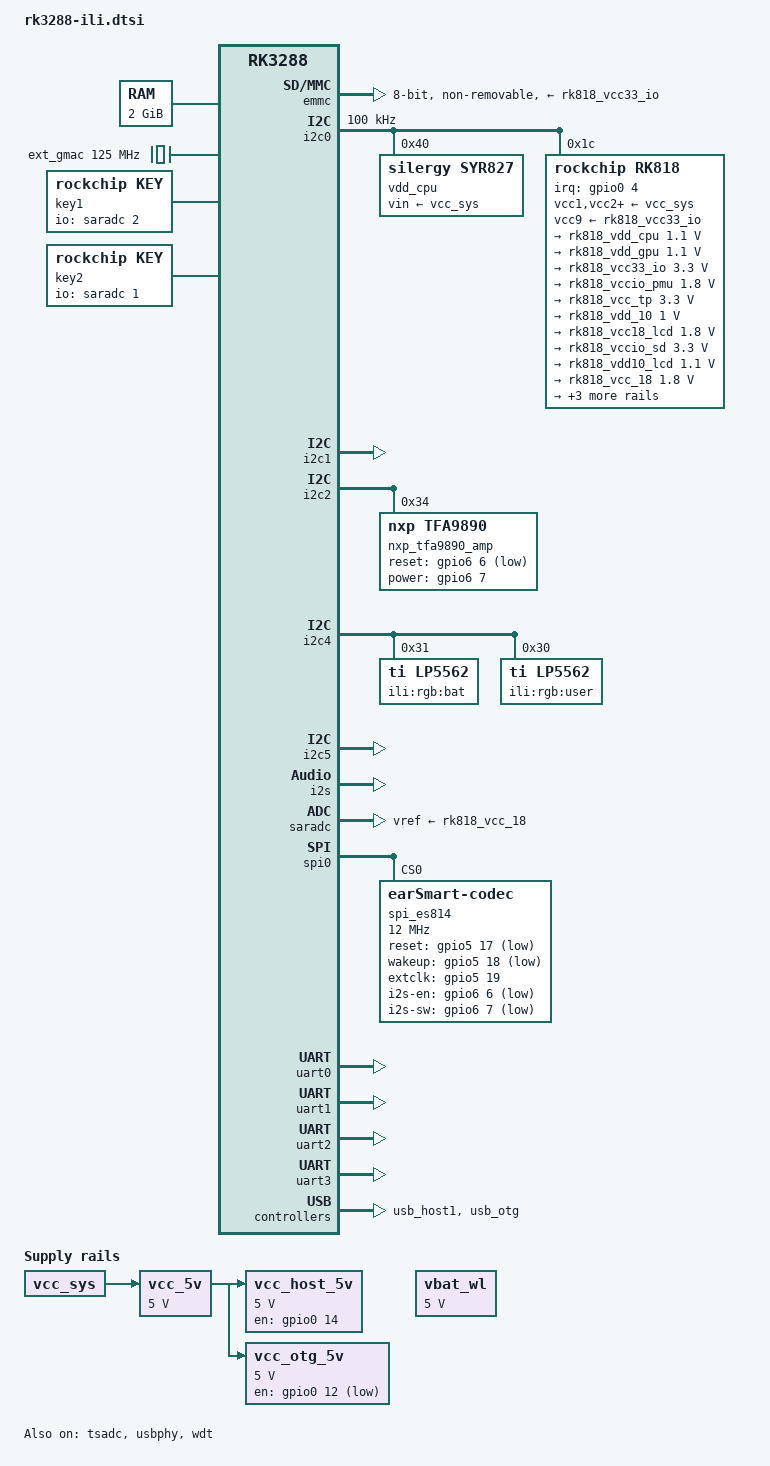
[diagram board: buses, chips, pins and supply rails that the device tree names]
/*
 * Copyright (c) 2014, 2015 FUKAUMI Naoki <naobsd@gmail.com>
 *
 * This file is dual-licensed: you can use it either under the terms
 * of the GPL or the X11 license, at your option. Note that this dual
 * licensing only applies to this file, and not this project as a
 * whole.
 *
 *  a) This file is free software; you can redistribute it and/or
 *     modify it under the terms of the GNU General Public License as
 *     published by the Free Software Foundation; either version 2 of the
 *     License, or (at your option) any later version.
 *
 *     This file is distributed in the hope that it will be useful,
 *     but WITHOUT ANY WARRANTY; without even the implied warranty of
 *     MERCHANTABILITY or FITNESS FOR A PARTICULAR PURPOSE.  See the
 *     GNU General Public License for more details.
 *
 * Or, alternatively,
 *
 *  b) Permission is hereby granted, free of charge, to any person
 *     obtaining a copy of this software and associated documentation
 *     files (the "Software"), to deal in the Software without
 *     restriction, including without limitation the rights to use,
 *     copy, modify, merge, publish, distribute, sublicense, and/or
 *     sell copies of the Software, and to permit persons to whom the
 *     Software is furnished to do so, subject to the following
 *     conditions:
 *
 *     The above copyright notice and this permission notice shall be
 *     included in all copies or substantial portions of the Software.
 *
 *     THE SOFTWARE IS PROVIDED "AS IS", WITHOUT WARRANTY OF ANY KIND,
 *     EXPRESS OR IMPLIED, INCLUDING BUT NOT LIMITED TO THE WARRANTIES
 *     OF MERCHANTABILITY, FITNESS FOR A PARTICULAR PURPOSE AND
 *     NONINFRINGEMENT. IN NO EVENT SHALL THE AUTHORS OR COPYRIGHT
 *     HOLDERS BE LIABLE FOR ANY CLAIM, DAMAGES OR OTHER LIABILITY,
 *     WHETHER IN AN ACTION OF CONTRACT, TORT OR OTHERWISE, ARISING
 *     FROM, OUT OF OR IN CONNECTION WITH THE SOFTWARE OR THE USE OR
 *     OTHER DEALINGS IN THE SOFTWARE.
 */

#include "rk3288.dtsi"

/ {
	memory {
		device_type = "memory";
		reg = <0 0x80000000>;
	};

	ext_gmac: external-gmac-clock {
		compatible = "fixed-clock";
		#clock-cells = <0>;
		clock-frequency = <125000000>;
		clock-output-names = "ext_gmac";
	};

/*key definition 1 for Lang Swift Key*/
	key1: adc-key {
		compatible = "rockchip,key";		
		io-channels = <&saradc 2>;

		lang-key {
			/*linux: KEY_F13*/
			linux,code = <183>;
			label = "lang-a";
			rockchip,adc_value = <1>;
		};
	};

/*key definition 2 for*/
	key2: adc-keys {
		compatible = "rockchip,key";		
		io-channels = <&saradc 1>;

		/*Translation Key*/
		main-key {
			gpios = <&gpio0 6 GPIO_ACTIVE_LOW>;
			/*linux: KEY_RECORD*/
			linux,code = <167>;
			label = "record";
		};

		/*Volume Up*/
		vol-up-key {
			/*linux: KEY_VOLUMEUP*/
			linux,code = <115>;
			label = "volume up";
			rockchip,adc_value = <1>;
		};

		/*Volume Down*/
		vol-down-key {
			/*linux: KEY_VOLUMEDOWN*/
			linux,code = <114>;
			label = "volume down";
			rockchip,adc_value = <170>;
		};
	};

/*
 Declare a sound card
   hw:0,0 => TFA9890, speaker
   hw:0,1 => eS814, mic
*/
	sound {
		compatible = "simple-audio-card";
		simple-audio-card,format = "i2s";
		simple-audio-card,name = "rockchip,firefly-codec";
		simple-audio-card,mclk-fs = <512>;

		simple-audio-card,dai-link@0 {
			format = "i2s";
			cpu {
				sound-dai = <&i2s>;
			};

			codec {
				sound-dai = <&nxp_tfa9890_amp>;
			};
		};

		simple-audio-card,dai-link@1 {
			format = "i2s";
			cpu {
				sound-dai = <&i2s>;
			};

			codec {
				sound-dai = <&spi_es814>;
			};
		};
	};

	vbat_wl: vcc_sys: vsys-regulator {
		compatible = "regulator-fixed";
		regulator-name = "vcc_sys";
		regulator-min-microvolt = <5000000>;
		regulator-max-microvolt = <5000000>;
		regulator-always-on;
		regulator-boot-on;
	};

	vcc_5v: usb-regulator {
		compatible = "regulator-fixed";
		regulator-name = "vcc_5v";
		regulator-min-microvolt = <5000000>;
		regulator-max-microvolt = <5000000>;
		regulator-always-on;
		regulator-boot-on;
		vin-supply = <&vcc_sys>;
	};

	vcc_host_5v: usb-host-regulator {
		compatible = "regulator-fixed";
		enable-active-high;
		gpio = <&gpio0 14 GPIO_ACTIVE_HIGH>;
		pinctrl-names = "default";
		pinctrl-0 = <&host_vbus_drv>;
		regulator-name = "vcc_host_5v";
		regulator-min-microvolt = <5000000>;
		regulator-max-microvolt = <5000000>;
		regulator-always-on;
		vin-supply = <&vcc_5v>;
	};

	vcc_otg_5v: usb-otg-regulator {
		compatible = "regulator-fixed";
		enable-active-low;
		gpio = <&gpio0 12 GPIO_ACTIVE_HIGH>;
		pinctrl-names = "default";
		pinctrl-0 = <&otg_vbus_drv>;
		regulator-name = "vcc_otg_5v";
		regulator-min-microvolt = <5000000>;
		regulator-max-microvolt = <5000000>;
		regulator-always-on;
		vin-supply = <&vcc_5v>;
	};
};

&cpu0 {
	cpu0-supply = <&vdd_cpu>;
};

&emmc {
	bus-width = <8>;
	cap-mmc-highspeed;
	disable-wp;
	non-removable;
	num-slots = <1>;
	pinctrl-names = "default";
	pinctrl-0 = <&emmc_clk>, <&emmc_cmd>, <&emmc_pwr>, <&emmc_bus8>;
	vmmc-supply = <&rk818_vcc33_io>;
	vqmmc-supply = <&rk818_vcc_18>;
	status = "okay";
};

&i2c0 {
	clock-frequency = <100000>;
	status = "okay";

	vdd_cpu: syr827@40 {
		compatible = "silergy,syr827";
		fcs,suspend-voltage-selector = <1>;
		reg = <0x40>;
		regulator-name = "vdd_cpu";
		regulator-min-microvolt = <850000>;
		regulator-max-microvolt = <1350000>;
		regulator-always-on;
		regulator-boot-on;
		regulator-enable-ramp-delay = <300>;
		regulator-ramp-delay = <8000>;
		vin-supply = <&vcc_sys>;
	};

/*RK818-1 PMIC*/
	rk818: rk818@1c {
		compatible = "rockchip,rk818";
		status = "okay";
		reg = <0x1c>;
		clock-output-names = "xin32k", "wifibt_32kin";
		interrupt-parent = <&gpio0>;
		interrupts = <4 IRQ_TYPE_LEVEL_LOW>;
		pinctrl-names = "default";
		pinctrl-0 = <&pmic_int>;
		rockchip,system-power-controller;
		wakeup-source;
		#clock-cells = <1>;

		vcc1-supply = <&vcc_sys>;
		vcc2-supply = <&vcc_sys>;
		vcc3-supply = <&vcc_sys>;
		vcc4-supply = <&vcc_sys>;
		vcc6-supply = <&vcc_sys>;
		vcc7-supply = <&vcc_sys>;
		vcc8-supply = <&vcc_sys>;
		vcc9-supply = <&rk818_vcc33_io>;

		regulators {
			rk818_vdd_cpu: DCDC_REG1 {
				regulator-name = "vdd_logic";
				regulator-always-on;
				regulator-boot-on;
				regulator-min-microvolt = <1100000>;
				regulator-max-microvolt = <1100000>;
				regulator-ramp-delay = <0>;
				regulator-state-mem {
					regulator-on-in-suspend;
					regulator-suspend-microvolt = <900000>;
				};
			};
			rk818_vdd_gpu: DCDC_REG2 {
				regulator-name = "vdd_gpu";
				regulator-always-on;
				regulator-boot-on;
				regulator-min-microvolt = <1100000>;
				regulator-max-microvolt = <1100000>;
				regulator-ramp-delay = <0>;
				regulator-state-mem {
					regulator-on-in-suspend;
					regulator-suspend-microvolt = <1200000>;
				};
			};

/* no need to set this, rejected by system
			rk818_vcc_ddr: DCDC_REG3 {
				regulator-name = "vcc_ddr";
				regulator-always-on;
				regulator-boot-on;
				regulator-min-microvolt = <1250000>;
				regulator-max-microvolt = <1250000>;
				regulator-ramp-delay = <0>;
				regulator-state-mem {
					regulator-on-in-suspend;
					regulator-suspend-microvolt = <1200000>;
				};
			};
*/
			rk818_vcc33_io: DCDC_REG4 {
				regulator-name = "vcc33_io";
				regulator-always-on;
				regulator-boot-on;
				regulator-min-microvolt = <3300000>;
				regulator-max-microvolt = <3300000>;
				regulator-state-mem {
					regulator-on-in-suspend;
					regulator-suspend-microvolt = <2800000>;
				};
			};

			rk818_vccio_pmu: LDO_REG1 {
				regulator-name = "vccio_pmu";
				regulator-always-on;
				regulator-boot-on;
				regulator-min-microvolt = <1800000>;
				regulator-max-microvolt = <1800000>;
				regulator-state-mem {
					regulator-on-in-suspend;
					regulator-suspend-microvolt = <3300000>;
				};
			};

			rk818_vcc_tp: LDO_REG2 {
				regulator-name = "vcc_tp";
				regulator-always-on;
				regulator-boot-on;
				regulator-min-microvolt = <3300000>;
				regulator-max-microvolt = <3300000>;
				regulator-state-mem {
					regulator-on-in-suspend;
					regulator-suspend-microvolt = <3300000>;
				};
			};

			rk818_vdd_10: LDO_REG3 {
				regulator-name = "vdd_10";
				regulator-always-on;
				regulator-boot-on;
				regulator-min-microvolt = <1000000>;
				regulator-max-microvolt = <1000000>;
				regulator-state-mem {
					regulator-on-in-suspend;
					regulator-suspend-microvolt = <1000000>;
				};
			};

			rk818_vcc18_lcd: LDO_REG4 {
				regulator-name = "vcc18_lcd";
				regulator-always-on;
				regulator-boot-on;
				regulator-min-microvolt = <1800000>;
				regulator-max-microvolt = <1800000>;
				regulator-state-mem {
					regulator-on-in-suspend;
					regulator-suspend-microvolt = <1800000>;
				};
			};

			rk818_vccio_sd: LDO_REG5 {
				regulator-name = "vccio_sd";
				regulator-always-on;
				regulator-boot-on;
				regulator-min-microvolt = <3300000>;
				regulator-max-microvolt = <3300000>;
				regulator-state-mem {
					regulator-on-in-suspend;
					regulator-suspend-microvolt = <3300000>;
				};
			};

			rk818_vdd10_lcd: LDO_REG6 {
				regulator-name = "vdd10_lcd";
				regulator-always-on;
				regulator-boot-on;
				regulator-min-microvolt = <1100000>;
				regulator-max-microvolt = <1100000>;
				regulator-state-mem {
					regulator-on-in-suspend;
					regulator-suspend-microvolt = <1000000>;
				};
			};

			rk818_vcc_18: LDO_REG7 {
				regulator-name = "vcc_18";
				regulator-always-on;
				regulator-boot-on;
				regulator-min-microvolt = <1800000>;
				regulator-max-microvolt = <1800000>;
				regulator-state-mem {
					regulator-on-in-suspend;
					regulator-suspend-microvolt = <1800000>;
				};
			};

			rk818_vcca_codec: LDO_REG8 {
				regulator-name = "vcca_codec";
				regulator-always-on;
				regulator-boot-on;
				regulator-min-microvolt = <1800000>;
				regulator-max-microvolt = <1800000>;
				regulator-state-mem {
					regulator-on-in-suspend;
					regulator-suspend-microvolt = <1800000>;
				};
			};

			rk818_vcc_wl: LDO_REG9 {
				regulator-always-on;
				regulator-boot-on;
				regulator-min-microvolt = <1800000>;
				regulator-max-microvolt = <3300000>;
				regulator-name = "vcc_wl";
				regulator-state-mem {
					regulator-on-in-suspend;
					regulator-suspend-microvolt = <3300000>;
				};
			};

			rk818_vcc_lcd: SWITCH_REG {
				regulator-always-on;
				regulator-boot-on;
				regulator-name = "vcc_lcd";
				regulator-state-mem {
					regulator-on-in-suspend;
				};
			};
		};
		battery {
		        compatible = "rk818-battery";
		        ocv_table = <3345 3678 3693 3718 3755 3772 3776 3780 3785 3795 3811 3838 3881 3908 3930 3962 3977 4033 4079 4093 4156>;
		        design_capacity = <600>;
		        design_qmax = <630>;
		        max_overcharge = <100>;
		        bat_res = <154>;
		        max_input_current  = <2000>;
		        max_chrg_current = <630>;
		        max_chrg_voltage = <4200>;
		        sleep_enter_current = <300>;
		        sleep_exit_current = <300>;
		        power_off_thresd = <3400>;
		        zero_algorithm_vol = <3850>;
		        fb_temperature = <105>;
			sample_res = <20>;
			max_soc_offset = <60>;
			energy_mode = <0>;
			monitor_sec = <5>;
		        virtual_power = <0>;
		        power_dc2otg = <0>;
		};
	};
};

&i2c1 {
	status = "okay";
};

&i2c2 {
	status = "okay";

/*NXP tfa9890 amp using i2c2*/
	nxp_tfa9890_amp: nxp_tfa9890_amp@34 {
		compatible = "nxp,tfa9890";
		reg = <0x34>;
		clock-names = "mclk";
		clocks = <&cru SCLK_I2S0_OUT>;
		#sound-dai-cells = <0>;
		reset-gpio = <&gpio6 6 GPIO_ACTIVE_LOW>;
		power-gpio = <&gpio6 7 GPIO_ACTIVE_HIGH>;
	};
};

&i2c4 {
	status = "okay";

/*Side LED, response to battery status*/
	bat_led@31 {
		compatible = "ti,lp5562";
		reg = <0x31>;
		label = "ili:rgb:bat";
		clock-mode = /bits/8 <2>;
		chan0 {
			chan-name = "BAT-R";
			led-cur = /bits/ 8 <0x20>;
			max-cur = /bits/ 8 <0x60>;
			linux,default-trigger = "battery-charging";
		};

		chan1 {
			chan-name = "BAT-G";
			led-cur = /bits/ 8 <0x20>;
			max-cur = /bits/ 8 <0x60>;
			linux,default-trigger = "battery-full";
		};
	};

/*Status RGB LED, turn on R LED as default a power on*/
	user_led@30 {
		compatible = "ti,lp5562";
		reg = <0x30>;
		label = "ili:rgb:user";
		clock-mode = /bits/8 <2>;
		chan0 {
			chan-name = "USER-R";
			led-cur = /bits/ 8 <0x20>;
			max-cur = /bits/ 8 <0x60>;
			linux,default-trigger = "default-on";
		};

		chan1 {
			chan-name = "USER-G";
			led-cur = /bits/ 8 <0x20>;
			max-cur = /bits/ 8 <0x60>;
		};

		chan2 {
			chan-name = "USER-B";
			led-cur = /bits/ 8 <0x20>;
			max-cur = /bits/ 8 <0x60>;
		};
	};
};

&i2c5 {
	status = "okay";
};

&i2s {
	#sound-dai-cells = <0>;
	status = "okay";
};


&pinctrl {
	pcfg_output_high: pcfg-output-high {
		output-high;
	};

	pcfg_output_low: pcfg-output-low {
		output-low;
	};

	pcfg_pull_none_drv_8ma: pcfg-pull-none-drv-8ma {
		drive-strength = <8>;
	};

	pcfg_pull_up_drv_8ma: pcfg-pull-up-drv-8ma {
		bias-pull-up;
		drive-strength = <8>;
	};

	rk818 {
		pmic_int: pmic_int {
			rockchip,pins = <0 4 RK_FUNC_GPIO &pcfg_output_high>;
		};
	};

	usb_host {
		host_vbus_drv: host-vbus-drv {
			rockchip,pins = <0 14 RK_FUNC_GPIO &pcfg_pull_none>;
		};

		usbhub_rst: usbhub-rst {
			rockchip,pins = <8 3 RK_FUNC_GPIO &pcfg_output_high>;
		};
	};

	usb_otg {
		otg_vbus_drv: otg-vbus-drv {
			rockchip,pins = <0 12 RK_FUNC_GPIO &pcfg_pull_none>;
		};
	};

	wireless-bluetooth {
		uart0_gpios: uart0-gpios {
			rockchip,pins = <4 19 RK_FUNC_GPIO &pcfg_pull_none>;
		};
	};
};

&saradc {
	vref-supply = <&rk818_vcc_18>;
	status = "okay";
};

&spi0 {
	pinctrl-names = "default";
	pinctrl-0 = <&spi0_clk>, <&spi0_cs0>, <&spi0_tx>, <&spi0_rx>, <&spi0_cs1>;
	max-freq = <48000000>;
	vspi0-supply = <&rk818_vccio_pmu>;
	status = "okay";

/*Knowles eS814 using spi*/
	spi_es814: spi_es814@00 {
		compatible = "earSmart-codec";
		reg = <0>;
		spi-max-frequency = <12000000>;
		adnc,reset-gpio = <&gpio5 17 GPIO_ACTIVE_LOW>;
		adnc,wakeup-gpio = <&gpio5 18 GPIO_ACTIVE_LOW>;
		adnc,extclk-gpio = <&gpio5 19 GPIO_ACTIVE_HIGH>;
		adnc,i2s-en-gpio = <&gpio6 6 GPIO_ACTIVE_LOW>;
		adnc,i2s-sw-gpio = <&gpio6 7 GPIO_ACTIVE_LOW>;
		adnc,adnc,spi-wdb-speed = <4000000>;
		adnc,spi-fw-download-speed = <12000000>;
		adnc,spi-operational-speed = <4000000>;
		clock-names = "mclk";
		clocks = <&cru SCLK_I2S0_OUT>;
		#sound-dai-cells = <0>;
                spi-cpha;
		//spi-cpol;
                poll_mode = <0>;
	        type = <0>;
		enable_dma = <0>;
	};
};

&tsadc {
	rockchip,hw-tshut-mode = <0>;
	rockchip,hw-tshut-polarity = <0>;
	status = "okay";
};

&uart0 {
	pinctrl-names = "default";
	pinctrl-0 = <&uart0_xfer>, <&uart0_cts>;
	status = "okay";
};

&uart1 {
	status = "okay";
};

&uart2 {
	status = "okay";
};

&uart3 {
	status = "okay";
};

&usbphy {
	status = "okay";
};

&usb_host1 {
	pinctrl-names = "default";
	pinctrl-0 = <&usbhub_rst>;
	status = "okay";
};

&usb_otg {
	status = "okay";
};

&wdt {
	status = "okay";
};
